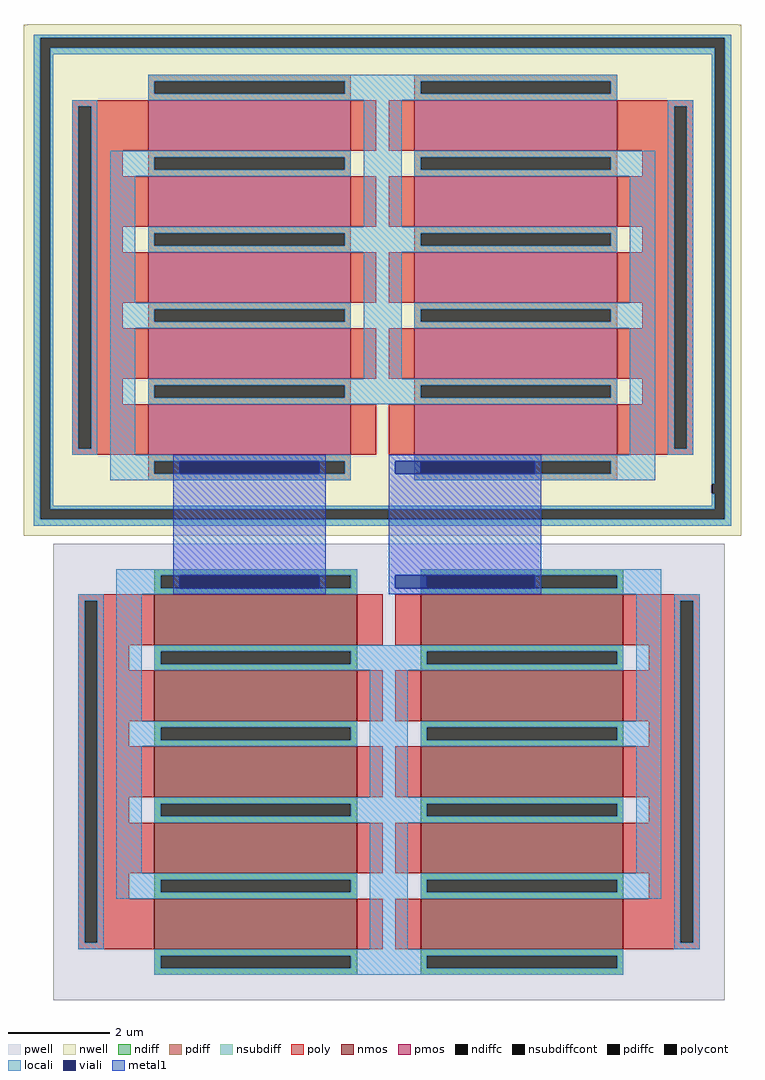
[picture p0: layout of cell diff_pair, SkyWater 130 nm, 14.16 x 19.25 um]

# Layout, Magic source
magic
tech sky130A
magscale 1 2
<< nwell >>
rect 150 1547 2950 1550
rect 134 -468 2965 1547
<< nsubdiff >>
rect 173 1495 2926 1508
rect 173 -403 199 1495
rect 238 1430 2861 1456
rect 238 -351 251 1430
rect 2848 -264 2861 1430
rect 2848 -351 2861 -303
rect 238 -364 2861 -351
rect 2900 -403 2926 1495
rect 173 -429 2926 -403
<< nsubdiffcont >>
rect 199 1456 2900 1495
rect 199 -364 238 1456
rect 2861 -264 2900 1456
rect 2848 -303 2900 -264
rect 2861 -364 2900 -303
rect 199 -403 2900 -364
<< locali >>
rect 173 1495 2926 1508
rect 173 -403 199 1495
rect 238 1430 2861 1456
rect 238 -351 251 1430
rect 2848 -264 2861 1430
rect 2848 -351 2861 -303
rect 238 -364 2861 -351
rect 2900 -403 2926 1495
rect 173 -429 2926 -403
<< viali >>
rect 750 -225 1300 -175
rect 1600 -225 2150 -175
rect 750 -675 1300 -625
rect 1600 -675 2150 -625
<< metal1 >>
rect 725 -175 1325 -150
rect 725 -225 750 -175
rect 1300 -225 1325 -175
rect 725 -625 1325 -225
rect 725 -675 750 -625
rect 1300 -675 1325 -625
rect 725 -700 1325 -675
rect 1575 -175 2175 -150
rect 1575 -225 1600 -175
rect 2150 -225 2175 -175
rect 1575 -625 2175 -225
rect 1575 -675 1600 -625
rect 2150 -675 2175 -625
rect 1575 -700 2175 -675
use n20x1  n20x1_1
transform -1 0 2600 0 1 -1100
box -300 -1200 1200 600
use n20x1  n20x1_2
transform 1 0 550 0 1 -1100
box -300 -1200 1200 600
use p20x1  p20x1_0
transform 1 0 525 0 -1 250
box -225 -1150 1075 550
use p20x1  p20x1_1
transform -1 0 2575 0 -1 250
box -225 -1150 1075 550
<< end >>

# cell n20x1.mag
magic
tech sky130A
magscale 1 2
<< pwell >>
rect -300 -1200 1200 600
<< nmos >>
rect 100 200 900 400
rect 100 -100 900 100
rect 100 -400 900 -200
rect 100 -700 900 -500
rect 100 -1000 900 -800
<< ndiff >>
rect 100 475 900 500
rect 100 425 125 475
rect 875 425 900 475
rect 100 400 900 425
rect 100 175 900 200
rect 100 125 125 175
rect 875 125 900 175
rect 100 100 900 125
rect 100 -125 900 -100
rect 100 -175 125 -125
rect 875 -175 900 -125
rect 100 -200 900 -175
rect 100 -425 900 -400
rect 100 -475 125 -425
rect 875 -475 900 -425
rect 100 -500 900 -475
rect 100 -725 900 -700
rect 100 -775 125 -725
rect 875 -775 900 -725
rect 100 -800 900 -775
rect 100 -1025 900 -1000
rect 100 -1075 125 -1025
rect 875 -1075 900 -1025
rect 100 -1100 900 -1075
<< ndiffc >>
rect 125 425 875 475
rect 125 125 875 175
rect 125 -175 875 -125
rect 125 -475 875 -425
rect 125 -775 875 -725
rect 125 -1075 875 -1025
<< poly >>
rect -200 375 100 400
rect -200 -975 -175 375
rect -125 200 100 375
rect 900 200 1000 400
rect -125 100 0 200
rect -125 -100 100 100
rect 900 -100 1000 100
rect -125 -200 0 -100
rect -125 -400 100 -200
rect 900 -400 1000 -200
rect -125 -500 0 -400
rect -125 -700 100 -500
rect 900 -700 1000 -500
rect -125 -800 0 -700
rect -125 -975 100 -800
rect -200 -1000 100 -975
rect 900 -1000 1000 -800
<< polycont >>
rect -175 -975 -125 375
<< locali >>
rect -50 475 900 500
rect -50 425 125 475
rect 875 425 900 475
rect -50 400 900 425
rect -200 375 -100 400
rect -200 -975 -175 375
rect -125 -975 -100 375
rect -50 -100 50 400
rect 100 175 1050 200
rect 100 125 125 175
rect 875 125 1050 175
rect 100 100 1050 125
rect -50 -125 900 -100
rect -50 -175 125 -125
rect 875 -175 900 -125
rect -50 -200 900 -175
rect -50 -700 50 -200
rect 950 -400 1050 100
rect 100 -425 1050 -400
rect 100 -475 125 -425
rect 875 -475 1050 -425
rect 100 -500 1050 -475
rect -50 -725 900 -700
rect -50 -775 125 -725
rect 875 -775 900 -725
rect -50 -800 900 -775
rect -200 -1000 -100 -975
rect 950 -1000 1050 -500
rect 100 -1025 1050 -1000
rect 100 -1075 125 -1025
rect 875 -1075 1050 -1025
rect 100 -1100 1050 -1075
<< labels >>
flabel ndiffc 600 450 600 450 0 FreeSans 800 0 0 0 D
port 0 nsew
flabel ndiffc 625 -1050 625 -1050 0 FreeSans 800 0 0 0 S
port 2 nsew
flabel polycont -150 -300 -150 -300 0 FreeSans 800 0 0 0 G
port 1 nsew
flabel pwell -200 500 -200 500 0 FreeSans 800 0 0 0 B
port 4 nsew
<< end >>

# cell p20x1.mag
magic
tech sky130A
magscale 1 2
<< nwell >>
rect -225 -1150 1075 550
<< pmos >>
rect 100 200 900 400
rect 100 -100 900 100
rect 100 -400 900 -200
rect 100 -700 900 -500
rect 100 -1000 900 -800
<< pdiff >>
rect 100 475 900 500
rect 100 425 125 475
rect 875 425 900 475
rect 100 400 900 425
rect 100 175 900 200
rect 100 125 125 175
rect 875 125 900 175
rect 100 100 900 125
rect 100 -125 900 -100
rect 100 -175 125 -125
rect 875 -175 900 -125
rect 100 -200 900 -175
rect 100 -425 900 -400
rect 100 -475 125 -425
rect 875 -475 900 -425
rect 100 -500 900 -475
rect 100 -725 900 -700
rect 100 -775 125 -725
rect 875 -775 900 -725
rect 100 -800 900 -775
rect 100 -1025 900 -1000
rect 100 -1075 125 -1025
rect 875 -1075 900 -1025
rect 100 -1100 900 -1075
<< pdiffc >>
rect 125 425 875 475
rect 125 125 875 175
rect 125 -175 875 -125
rect 125 -475 875 -425
rect 125 -775 875 -725
rect 125 -1075 875 -1025
<< poly >>
rect -200 375 100 400
rect -200 -975 -175 375
rect -125 200 100 375
rect 900 200 1000 400
rect -125 100 0 200
rect -125 -100 100 100
rect 900 -100 1000 100
rect -125 -200 0 -100
rect -125 -400 100 -200
rect 900 -400 1000 -200
rect -125 -500 0 -400
rect -125 -700 100 -500
rect 900 -700 1000 -500
rect -125 -800 0 -700
rect -125 -975 100 -800
rect -200 -1000 100 -975
rect 900 -1000 1000 -800
<< polycont >>
rect -175 -975 -125 375
<< locali >>
rect -50 475 900 500
rect -50 425 125 475
rect 875 425 900 475
rect -50 400 900 425
rect -200 375 -100 400
rect -200 -975 -175 375
rect -125 -975 -100 375
rect -50 -100 50 400
rect 100 175 1050 200
rect 100 125 125 175
rect 875 125 1050 175
rect 100 100 1050 125
rect -50 -125 900 -100
rect -50 -175 125 -125
rect 875 -175 900 -125
rect -50 -200 900 -175
rect -50 -700 50 -200
rect 950 -400 1050 100
rect 100 -425 1050 -400
rect 100 -475 125 -425
rect 875 -475 1050 -425
rect 100 -500 1050 -475
rect -50 -725 900 -700
rect -50 -775 125 -725
rect 875 -775 900 -725
rect -50 -800 900 -775
rect -200 -1000 -100 -975
rect 950 -1000 1050 -500
rect 100 -1025 1050 -1000
rect 100 -1075 125 -1025
rect 875 -1075 1050 -1025
rect 100 -1100 1050 -1075
<< labels >>
flabel pdiffc 600 450 600 450 0 FreeSans 800 0 0 0 D
port 0 nsew
flabel pdiffc 625 -1050 625 -1050 0 FreeSans 800 0 0 0 S
port 2 nsew
flabel polycont -150 -300 -150 -300 0 FreeSans 800 0 0 0 G
port 1 nsew
flabel nwell -150 475 -150 475 0 FreeSans 800 0 0 0 B
port 3 nsew
<< end >>
